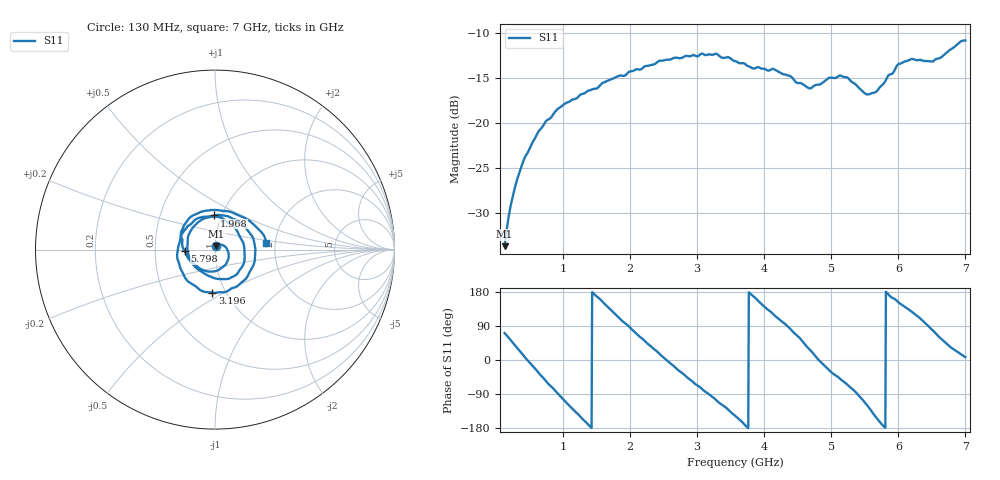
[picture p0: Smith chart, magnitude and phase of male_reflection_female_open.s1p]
# Hz S RI R 50.000000
! Metas.Vna.Tools, 2.8.8664.20301
! Metas.Vna.Data, 2.8.8664.20285
! Created: UTC 2024.02.09 23:56:06
! FREQ  re:S2,2  im:S2,2
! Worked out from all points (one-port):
!   801 points, 130 MHz to 7 GHz, reference 50 ohm
!   lowest |S11| = -33.6 dB at 130 MHz (marker M1), VSWR 1.04, Z = 50.6 + j1.99 ohm
!   |S11| at or under -10 dB: start of sweep to end of sweep
!   S11 on the Smith chart (normalised r, x): 130 MHz: 1.01, +0.04; 1.968 GHz: 0.92, +0.36; 3.196 GHz: 0.87, -0.44; 5.798 GHz: 0.71, -0.01; 7 GHz: 1.79, +0.15
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1.3e8  0.00675 0.0197
2.588125e8  0.0291 0.0279
4.133875e8  0.061 0.0124
6.881875e8  0.0682 -0.0661
9.8875e8  -0.0232 -0.1225
1.426712e9  -0.1535 -0.00134
1.624225e9  -0.1427 0.0911
1.8475e9  -0.0603 0.1732
1.967725e9  -0.00409 0.1901
2.199588e9  0.1206 0.1648
2.422862e9  0.2082 0.0723
2.70625e9  0.2087 -0.0969
2.955288e9  0.1159 -0.2085
3.195738e9  -0.0143 -0.2397
3.565e9  -0.1852 -0.1206
3.753925e9  -0.2076 -0.00545
4.020138e9  -0.1471 0.1339
4.200475e9  -0.0683 0.1822
4.42375e9  0.0445 0.1725
4.672788e9  0.1372 0.0744
4.878888e9  0.1651 -0.0328
5.2825e9  0.0537 -0.1644
5.548712e9  -0.0773 -0.1218
5.79775e9  -0.169 -0.00777
6.14125e9  -0.157 0.1569
6.55345e9  0.0732 0.2136
6.776725e9  0.2116 0.1443
7e9  0.285 0.0378
